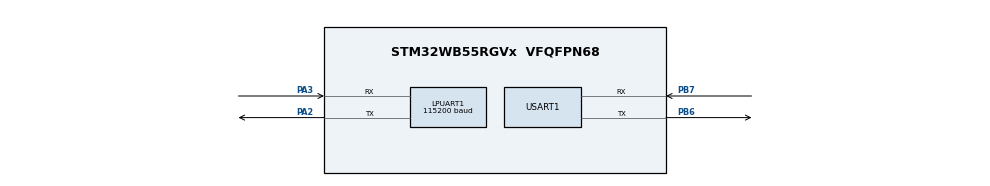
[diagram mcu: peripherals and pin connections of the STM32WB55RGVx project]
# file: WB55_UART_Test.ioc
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LPUART1.BaudRate=115200
Mcu.Family=STM32WB
Mcu.Name=STM32WB55RGVx
Mcu.Package=VFQFPN68
NVIC.PriorityGroup=NVIC_PRIORITYGROUP_4
PA2.Mode=Asynchronous
PA2.Signal=LPUART1_TX
PA3.Mode=Asynchronous
PA3.Signal=LPUART1_RX
PB6.Mode=Asynchronous
PB6.Signal=USART1_TX
PB7.Mode=Asynchronous
PB7.Signal=USART1_RX
ProjectManager.HeapSize=0x200
ProjectManager.StackSize=0x400
ProjectManager.TargetToolchain=STM32CubeIDE
RCC.APB3Freq_Value=16000000
RCC.HSE_VALUE=8000000
RCC.HSI48_VALUE=48000000
RCC.HSI_VALUE=16000000
RCC.LSE_VALUE=32768
RCC.VCOOutputFreq_Value=32000000
USART1.VirtualMode-Asynchronous=VM_ASYNC
VP_MEMORYMAP_VS_MEMORYMAP.Mode=CurAppReg
board=custom

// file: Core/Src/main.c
/* USER CODE BEGIN Header */
/**
  ******************************************************************************
  * @file           : main.c
  * @brief          : Main program body
  ******************************************************************************
  * @attention
  *
  * Copyright (c) 2026 STMicroelectronics.
  * All rights reserved.
  *
  * This software is licensed under terms that can be found in the LICENSE file
  * in the root directory of this software component.
  * If no LICENSE file comes with this software, it is provided AS-IS.
  *
  ******************************************************************************
  */
/* USER CODE END Header */
#include "main.h"
#include "usart.h"
#include "gpio.h"

/* USER CODE BEGIN Includes */
#include "modbus_rtu.h"
#include "bms_registers.h"
/* USER CODE END Includes */

void SystemClock_Config(void);
void PeriphCommonClock_Config(void);

int main(void)
{

  /* USER CODE BEGIN 1 */
  uint8_t  rxbuf[256];
  uint16_t rxlen = 0;
  uint8_t  txbuf[256];
  /* USER CODE END 1 */

  /* MCU Configuration--------------------------------------------------------*/

  /* Reset of all peripherals, Initializes the Flash interface and the Systick. */
  HAL_Init();

  /* Configure the system clock */
  SystemClock_Config();

  /* Configure the peripherals common clocks */
  PeriphCommonClock_Config();

  /* Initialize all configured peripherals */
  MX_GPIO_Init();
  MX_USART1_UART_Init();
  MX_LPUART1_UART_Init();
  /* USER CODE BEGIN 2 */
  bms_registers_init();
  modbus_rtu_init();

  /* Waveshare (LPUART1) icin 9600 baud */
  hlpuart1.Init.BaudRate = 9600;
  HAL_UART_Init(&hlpuart1);
  /* USER CODE END 2 */

  /* Infinite loop */
  while (1)
  {

    /* USER CODE BEGIN 3 */
    rxlen = 0;
    HAL_UARTEx_ReceiveToIdle(&hlpuart1, rxbuf, sizeof(rxbuf), &rxlen, 100);
    if (rxlen > 0)
    {
      uint16_t txlen = modbus_rtu_process(rxbuf, rxlen, txbuf);
      if (txlen > 0)
      {
        HAL_UART_Transmit(&hlpuart1, txbuf, txlen, HAL_MAX_DELAY);
      }
    }
  }
  /* USER CODE END 3 */
}

void SystemClock_Config(void)
{
  RCC_OscInitTypeDef RCC_OscInitStruct = {0};
  RCC_ClkInitTypeDef RCC_ClkInitStruct = {0};

  /** Configure the main internal regulator output voltage
  */
  __HAL_PWR_VOLTAGESCALING_CONFIG(PWR_REGULATOR_VOLTAGE_SCALE1);

  /** Initializes the RCC Oscillators according to the specified parameters
  * in the RCC_OscInitTypeDef structure.
  */
  RCC_OscInitStruct.OscillatorType = RCC_OSCILLATORTYPE_HSI|RCC_OSCILLATORTYPE_MSI;
  RCC_OscInitStruct.HSIState = RCC_HSI_ON;
  RCC_OscInitStruct.MSIState = RCC_MSI_ON;
  RCC_OscInitStruct.HSICalibrationValue = RCC_HSICALIBRATION_DEFAULT;
  RCC_OscInitStruct.MSICalibrationValue = RCC_MSICALIBRATION_DEFAULT;
  RCC_OscInitStruct.MSIClockRange = RCC_MSIRANGE_6;
  RCC_OscInitStruct.PLL.PLLState = RCC_PLL_NONE;
  if (HAL_RCC_OscConfig(&RCC_OscInitStruct) != HAL_OK)
  {
    Error_Handler();
  }

  /** Configure the SYSCLKSource, HCLK, PCLK1 and PCLK2 clocks dividers
  */
  RCC_ClkInitStruct.ClockType = RCC_CLOCKTYPE_HCLK4|RCC_CLOCKTYPE_HCLK2
                              |RCC_CLOCKTYPE_HCLK|RCC_CLOCKTYPE_SYSCLK
                              |RCC_CLOCKTYPE_PCLK1|RCC_CLOCKTYPE_PCLK2;
  RCC_ClkInitStruct.SYSCLKSource = RCC_SYSCLKSOURCE_MSI;
  RCC_ClkInitStruct.AHBCLKDivider = RCC_SYSCLK_DIV1;
  RCC_ClkInitStruct.APB1CLKDivider = RCC_HCLK_DIV1;
  RCC_ClkInitStruct.APB2CLKDivider = RCC_HCLK_DIV1;
  RCC_ClkInitStruct.AHBCLK2Divider = RCC_SYSCLK_DIV1;
  RCC_ClkInitStruct.AHBCLK4Divider = RCC_SYSCLK_DIV1;

  if (HAL_RCC_ClockConfig(&RCC_ClkInitStruct, FLASH_LATENCY_0) != HAL_OK)
  {
    Error_Handler();
  }
}

void PeriphCommonClock_Config(void)
{
  RCC_PeriphCLKInitTypeDef PeriphClkInitStruct = {0};

  /** Initializes the peripherals clock
  */
  PeriphClkInitStruct.PeriphClockSelection = RCC_PERIPHCLK_SMPS;
  PeriphClkInitStruct.SmpsClockSelection = RCC_SMPSCLKSOURCE_HSI;
  PeriphClkInitStruct.SmpsDivSelection = RCC_SMPSCLKDIV_RANGE1;

  if (HAL_RCCEx_PeriphCLKConfig(&PeriphClkInitStruct) != HAL_OK)
  {
    Error_Handler();
  }
}

void Error_Handler(void)
{
  __disable_irq();
  while (1)
  {
  }
}
